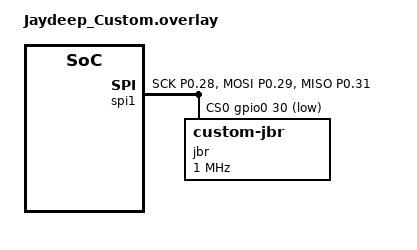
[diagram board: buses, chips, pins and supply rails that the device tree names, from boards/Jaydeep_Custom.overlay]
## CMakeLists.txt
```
#-------------------------------------------------------------------------------
# Zephyr Example Application
#
# Copyright (c) 2021 Nordic Semiconductor ASA
# SPDX-License-Identifier: Apache-2.0

cmake_minimum_required(VERSION 3.21)

# STEP 8.1 Add external module
list(APPEND EXTRA_ZEPHYR_MODULES
  ${CMAKE_CURRENT_SOURCE_DIR}/../custom_driver_jbr
)

find_package(Zephyr REQUIRED HINTS $ENV{ZEPHYR_BASE})

project(app LANGUAGES C)

target_sources(app PRIVATE src/main.c)
```

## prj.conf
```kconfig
CONFIG_LOG=y

CONFIG_CBPRINTF_FP_SUPPORT=y
CONFIG_RESET_ON_FATAL_ERROR=n

# STEP 8.2 - Enable Kconfigs 
CONFIG_SENSOR=y
CONFIG_CUSTOM_JBR=y
```

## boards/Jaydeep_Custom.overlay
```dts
&i2c0 {	status = "disabled";};
&spi0 {	status = "disabled";};
&i2c1 {	status = "disabled";};
	
&spi1 {
    compatible = "nordic,nrf-spi"; //using SPI as per ERRATA 58
	status = "okay";
	pinctrl-0 = <&spi1_default>;
	pinctrl-1 = <&spi1_sleep>;
	pinctrl-names = "default", "sleep";
	cs-gpios = <&gpio0 30 GPIO_ACTIVE_LOW>;

/* STEP 8.3 Create JBR node */
	jbr: jbr@0 {
		compatible = "zephyr,custom-jbr";
		reg = <0>;
		spi-max-frequency = <1000000>; 
	};
};


&pinctrl {
	spi1_default: spi1_default {
		group1 {
				psels = <NRF_PSEL(SPIM_SCK, 0, 28)>,
						<NRF_PSEL(SPIM_MOSI, 0, 29)>,
						<NRF_PSEL(SPIM_MISO, 0, 31)>;
		};
	};

	spi1_sleep: spi1_sleep {
		group1 {
				psels = <NRF_PSEL(SPIM_SCK, 0, 28)>,
						<NRF_PSEL(SPIM_MOSI, 0, 29)>,
						<NRF_PSEL(SPIM_MISO, 0, 31)>;
				low-power-enable;
		};
	};
};
```

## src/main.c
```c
/*
 * Copyright (c) 2021 Nordic Semiconductor ASA
 * SPDX-License-Identifier: Apache-2.0
 */

 #include <zephyr/kernel.h>
 #include <zephyr/drivers/sensor.h>
 #include <zephyr/logging/log.h>
 
 LOG_MODULE_REGISTER(Lesson7_Exercise1, LOG_LEVEL_INF);
 
 /* STEP 9.1 - Get the device structure from the node label */
 const struct device * dev = DEVICE_DT_GET(DT_NODELABEL(jbr));
 
 int main(void)
 {
     int err;
 
     LOG_INF("Lesson 7 - Exercise 1 started");
 
     /* STEP 9.2 - Define variables to store the temperature, pressure and humidity */
     struct sensor_value temp_val, press_val, hum_val;
 
     err = device_is_ready(dev);
     if (!err) {
         LOG_INF("Error: SPI device is not ready, err: %d", err);
         return 0;
     }
 #if 1
     while (1) {
         /* STEP 9.3 - Continuously read out sensor data using the sensor API calls */
         err = sensor_sample_fetch(dev);
         if (err < 0) {
             LOG_ERR("Could not fetch sample (%d)", err);
             return 0;
         }
 
         if (sensor_channel_get(dev, SENSOR_CHAN_AMBIENT_TEMP, &temp_val)) {
             LOG_ERR("Could not get sample");
             return 0;
         }
         
         if (sensor_channel_get(dev, SENSOR_CHAN_PRESS, &press_val)) {
             LOG_ERR("Could not get sample");
             return 0;
         }
     
         if (sensor_channel_get(dev, SENSOR_CHAN_HUMIDITY, &hum_val)) {
             LOG_ERR("Could not get sample");
             return 0;
         }
 
         LOG_INF("Compensated temperature value: %d", temp_val.val1);
         LOG_INF("Compensated pressure value: %d", press_val.val1);
         LOG_INF("Compensated humidity value: %d", hum_val.val1);
         
         k_sleep(K_MSEC(1000));
     }
     #endif
     
     return 0;
 }


#if 0
 #include <zephyr/kernel.h>
 #include <zephyr/drivers/sensor.h>
 #include <zephyr/logging/log.h>

int main(void)
 {
    while(1);
 }
 #endif
```
